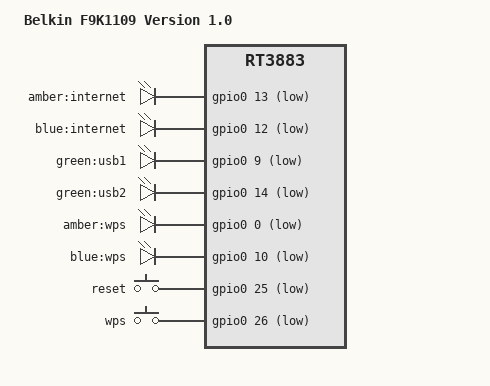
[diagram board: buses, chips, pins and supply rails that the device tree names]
// SPDX-License-Identifier: GPL-2.0-or-later OR MIT

#include "rt3883_belkin_f9k110x.dtsi"

/ {
	compatible = "belkin,f9k1109v1", "ralink,rt3883-soc";
	model = "Belkin F9K1109 Version 1.0";

	aliases {
		led-boot = &led_status_amber;
		led-failsafe = &led_status_amber;
		led-running = &led_status_blue;
		led-upgrade = &led_status_amber;
	};

	leds {
		compatible = "gpio-leds";

		led_status_amber: internet_amber {
			label = "amber:internet";
			gpios = <&gpio0 13 GPIO_ACTIVE_LOW>;
		};

		led_status_blue: internet_blue {
			label = "blue:internet";
			gpios = <&gpio0 12 GPIO_ACTIVE_LOW>;
		};

		usb1 {
			label = "green:usb1";
			gpios = <&gpio0 9 GPIO_ACTIVE_LOW>;
			trigger-sources = <&ohci_port1>, <&ehci_port1>;
			linux,default-trigger = "usbport";
		};

		usb2 {
			label = "green:usb2";
			gpios = <&gpio0 14 GPIO_ACTIVE_LOW>;
			trigger-sources = <&ohci_port2>, <&ehci_port2>;
			linux,default-trigger = "usbport";
		};

		wps_amber {
			label = "amber:wps";
			gpios = <&gpio0 0 GPIO_ACTIVE_LOW>;
		};

		wps_blue {
			label = "blue:wps";
			gpios = <&gpio0 10 GPIO_ACTIVE_LOW>;
		};
	};

	keys {
		compatible = "gpio-keys-polled";
		poll-interval = <100>;

		reset {
			label = "reset";
			gpios = <&gpio0 25 GPIO_ACTIVE_LOW>;
			linux,code = <KEY_RESTART>;
		};

		wps {
			label = "wps";
			gpios = <&gpio0 26 GPIO_ACTIVE_LOW>;
			linux,code = <KEY_WPS_BUTTON>;
		};
	};
};

&ehci {
	ehci_port2: port@2 {
		reg = <2>;
		#trigger-source-cells = <0>;
	};
};

&ohci {
	ohci_port2: port@2 {
		reg = <2>;
		#trigger-source-cells = <0>;
	};
};
